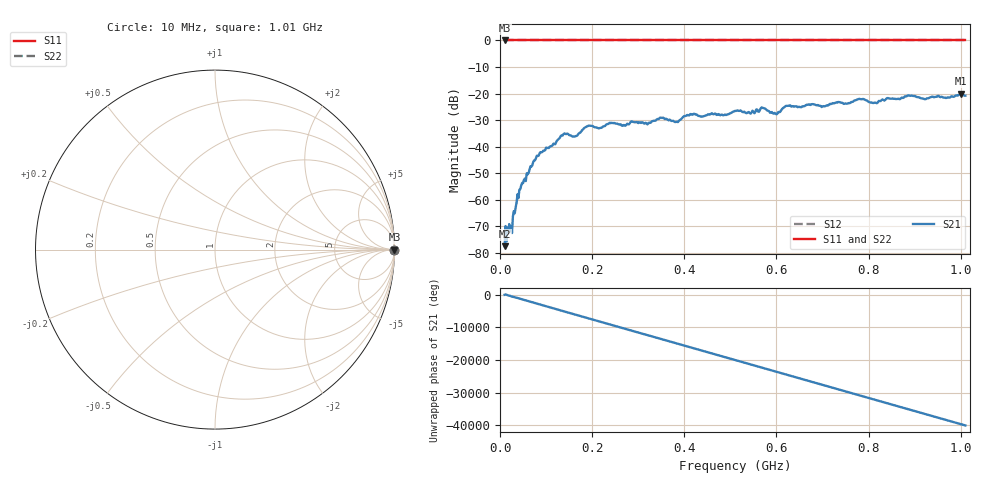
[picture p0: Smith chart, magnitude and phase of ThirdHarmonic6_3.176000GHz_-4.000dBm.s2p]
! 8/17/2025 9:34:33 AM
! C:\ANRITSUVNA\TEMP\TEMP.S2P
! CHANNEL.1
! TR.MEASUREMENT
! RAW.DATA
! RF.CORRECTION.OFF
! AVERAGING.OFF
! IF.BANDWIDTH: 5KHZ
! SWEEPTYPE:  FREQ.SWEEP(Linear)
! Reference Plane Port Info
! PORT:  PORT1  PORT2
! DISTANCE:  0  m  0  m
! TIME:  0  s  0  s
! PHASE.OFFSET:  0  deg.  0  deg.
! LOSS:  0  dB  0  dB
! REF.LOSS:  0  dB  0  dB
! REF.FREQ:  0  Hz  0  Hz
! Power Info
! POWER:  -20  dBm  -20  dBm
! EFF.POWER:  -20  dBm  -20  dBm
! SOURCE.ATTEN:  0  dB  0  dB
! TEST.ATTEN:  0  dB  0  dB
# GHZ S RI R 50.0
! FREQ.GHZ  S11RE  S11IM  S21RE  S21IM  S12RE  S12IM  S22RE  S22IM
!; PortSelection: Port_12
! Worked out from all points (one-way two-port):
!   501 points, 10 MHz to 1.01 GHz, reference 50 ohm
!   highest |S21| = -20.11 dB at 1 GHz (marker M1); lowest = -77.5 dB at 10 MHz (marker M2)
!   lowest |S11| = 0.0 dB at 10 MHz (marker M3)
!   |S11| at or under -10 dB: nowhere
!   |S22| runs from 0.0 to 0.0 dB; largest |S21 - S12| = 1.1
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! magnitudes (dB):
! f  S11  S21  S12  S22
! 10 MHz  0.0  -77.5  0.0  0.0
! 16 MHz  0.0  -70.5  0.0  0.0
! 26 MHz  0.0  -72.6  0.0  0.0
! 46 MHz  0.0  -54.7  0.0  0.0
! 76 MHz  0.0  -45.2  0.0  0.0
! 136 MHz  0.0  -35.8  0.0  0.0
! 162 MHz  0.0  -36.2  0.0  0.0
! 178 MHz  0.0  -33.8  0.0  0.0
! 192 MHz  0.0  -32.1  0.0  0.0
! 344 MHz  0.0  -29.6  0.0  0.0
! 382 MHz  0.0  -30.7  0.0  0.0
! 410 MHz  0.0  -28.3  0.0  0.0
! 510 MHz  0.0  -26.5  0.0  0.0
! 570 MHz  0.0  -25.4  0.0  0.0
! 598 MHz  0.0  -27.5  0.0  0.0
! 624 MHz  0.0  -24.7  0.0  0.0
! 678 MHz  0.0  -24.0  0.0  0.0
! 782 MHz  0.0  -22.1  0.0  0.0
! 814 MHz  0.0  -23.4  0.0  0.0
! 844 MHz  0.0  -21.8  0.0  0.0
! 1 GHz  0.0  -20.1  0.0  0.0
! 1.01 GHz  0.0  -20.8  0.0  0.0
